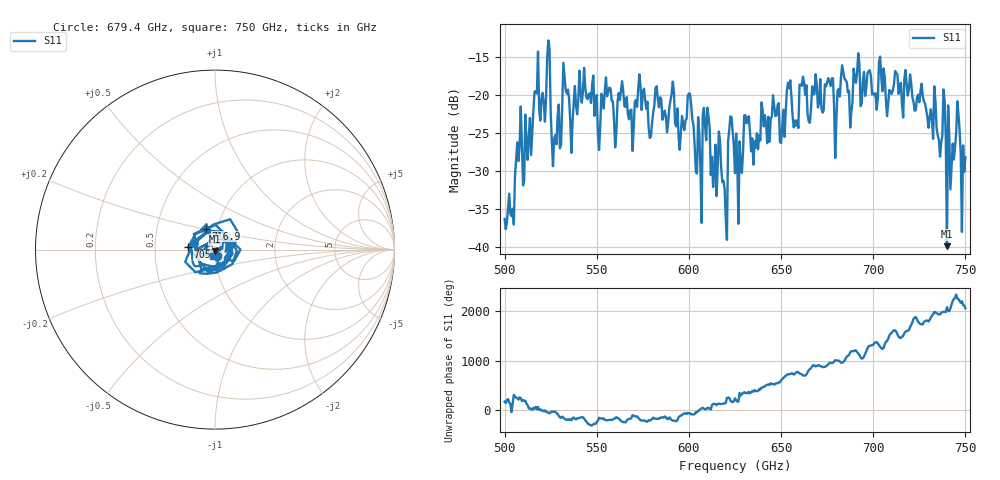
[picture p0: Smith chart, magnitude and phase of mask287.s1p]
!Created with skrf (http://scikit-rf.org).
# GHz S MA R 50.0
!freq magS11 angS11
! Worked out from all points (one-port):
!   401 points, 500 GHz to 750 GHz, reference 50 ohm
!   lowest |S11| = -40.0 dB at 740 GHz (marker M1), VSWR 1.02, Z = 50.1 - j0.998 ohm
!   |S11| at or under -10 dB: start of sweep to end of sweep
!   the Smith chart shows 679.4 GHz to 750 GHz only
!   S11 on the Smith chart (normalised r, x): 679.4 GHz: 1.02, -0.07; 705.6 GHz: 0.74, +0.02; 716.9 GHz: 0.88, +0.21; 750 GHz: 0.98, -0.07
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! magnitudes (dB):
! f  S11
! 500 GHz  -36.4
! 513.8 GHz  -23.0
! 516.9 GHz  -19.5
! 520.6 GHz  -19.7
! 523.8 GHz  -12.8
! 526.9 GHz  -25.8
! 531.2 GHz  -21.5
! 562.5 GHz  -20.7
! 579.4 GHz  -25.5
! 590.6 GHz  -19.8
! 593.8 GHz  -21.8
! 600.6 GHz  -19.9
! 605.6 GHz  -25.1
! 609.4 GHz  -26.0
! 619.4 GHz  -32.4
! 622.5 GHz  -22.8
! 625 GHz  -30.3
! 656.2 GHz  -22.8
! 676.9 GHz  -18.8
! 679.4 GHz  -28.3
! 683.8 GHz  -17.0
! 687.5 GHz  -24.3
! 691.2 GHz  -17.0
! 705.6 GHz  -16.5
! 716.9 GHz  -17.9
! 718.8 GHz  -20.1
! 740 GHz  -40.0
! 750 GHz  -28.2
